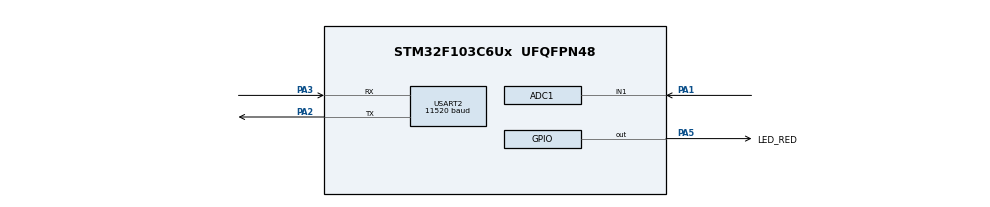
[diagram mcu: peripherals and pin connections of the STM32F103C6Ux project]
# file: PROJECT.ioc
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ADC1.Channel-0\#ChannelRegularConversion=ADC_CHANNEL_1
ADC1.ContinuousConvMode=ENABLE
ADC1.NbrOfConversionFlag=1
ADC1.Rank-0\#ChannelRegularConversion=1
ADC1.SamplingTime-0\#ChannelRegularConversion=ADC_SAMPLETIME_1CYCLE_5
ADC1.master=1
Mcu.Family=STM32F1
Mcu.Name=STM32F103C6Ux
Mcu.Package=UFQFPN48
NVIC.ADC1_2_IRQn=true\:0\:0\:false\:false\:true\:true\:true
NVIC.PriorityGroup=NVIC_PRIORITYGROUP_4
NVIC.TIM2_IRQn=true\:0\:0\:false\:false\:true\:true\:true
NVIC.USART2_IRQn=true\:0\:0\:false\:false\:true\:true\:true
PA1.Signal=ADCx_IN1
PA2.Mode=Asynchronous
PA2.Signal=USART2_TX
PA3.Mode=Asynchronous
PA3.Signal=USART2_RX
PA5.GPIO_Label=LED_RED
PA5.Signal=GPIO_Output
ProjectManager.HeapSize=0x200
ProjectManager.StackSize=0x400
ProjectManager.TargetToolchain=STM32CubeIDE
RCC.APB1Freq_Value=8000000
RCC.APB2Freq_Value=8000000
SH.ADCx_IN1.0=ADC1_IN1,IN1
TIM2.Period=9
TIM2.Prescaler=7999
USART2.BaudRate=11520
USART2.VirtualMode=VM_ASYNC
VP_SYS_VS_ND.Mode=No_Debug
VP_TIM2_VS_ClockSourceINT.Mode=Internal
board=custom

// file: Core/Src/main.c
/* USER CODE BEGIN Header */
/**
  ******************************************************************************
  * @file           : main.c
  * @brief          : Main program body
  ******************************************************************************
  * @attention
  *
  * <h2><center>&copy; Copyright (c) 2023 STMicroelectronics.
  * All rights reserved.</center></h2>
  *
  * This software component is licensed by ST under BSD 3-Clause license,
  * the "License"; You may not use this file except in compliance with the
  * License. You may obtain a copy of the License at:
  *                        opensource.org/licenses/BSD-3-Clause
  *
  ******************************************************************************
  */
/* USER CODE END Header */
#include "main.h"

/* USER CODE BEGIN Includes */
#include <stdio.h>
#include "software_timer.h"
#include "controlData.h"
#include "fsm.h"
#include "command.h"
#include "uart.h"
/* USER CODE END Includes */

ADC_HandleTypeDef hadc1;

TIM_HandleTypeDef htim2;

UART_HandleTypeDef huart2;

void SystemClock_Config(void);
static void MX_GPIO_Init(void);
static void MX_USART2_UART_Init(void);
static void MX_ADC1_Init(void);
static void MX_TIM2_Init(void);

/* USER CODE BEGIN 0 */

void HAL_UART_RxCpltCallback(UART_HandleTypeDef *huart){
	if (huart->Instance == USART2){
		insertBuffer(); // insert data to buffer
		HAL_UART_Transmit(&huart2, temp, 1, 50);
		HAL_UART_Receive_IT(&huart2, temp, 1);
	}
}
/* USER CODE END 0 */

int main(void)
{

  /* MCU Configuration--------------------------------------------------------*/

  /* Reset of all peripherals, Initializes the Flash interface and the Systick. */
  HAL_Init();

  /* Configure the system clock */
  SystemClock_Config();

  /* Initialize all configured peripherals */
  MX_GPIO_Init();
  MX_USART2_UART_Init();
  MX_ADC1_Init();
  MX_TIM2_Init();
  /* USER CODE BEGIN 2 */
  HAL_UART_Receive_IT(&huart2, temp, 1);
  HAL_TIM_Base_Start_IT(&htim2);
  /* USER CODE END 2 */

  /* Infinite loop */
  /* USER CODE BEGIN WHILE */
  // set initial status for environment
  INIT();
  initData();
  setTimer(0);
  setTimerBlinking();
  while (1)
  {
	  if (buffer_flag == 1){ // new data
		  if ((int)(temp[0]) == 13){ // 13 == press Enter from terminal
			  command_parser(); // check input buffer
			  initData(); // reset input buffer
		  }
		  buffer_flag = 0; // reset buffer flag
	  }
	  // fsm for uart communication
	  uart_communication_fsm();
	  // led blinking for show system's status
	  if (timer_blinking_flag == 1){
		  HAL_GPIO_TogglePin(LED_RED_GPIO_Port, LED_RED_Pin);
		  setTimerBlinking(); // set timer to 500ms
	  }
    /* USER CODE END WHILE */

  }
}

void SystemClock_Config(void)
{
  RCC_OscInitTypeDef RCC_OscInitStruct = {0};
  RCC_ClkInitTypeDef RCC_ClkInitStruct = {0};
  RCC_PeriphCLKInitTypeDef PeriphClkInit = {0};

  /** Initializes the RCC Oscillators according to the specified parameters
  * in the RCC_OscInitTypeDef structure.
  */
  RCC_OscInitStruct.OscillatorType = RCC_OSCILLATORTYPE_HSI;
  RCC_OscInitStruct.HSIState = RCC_HSI_ON;
  RCC_OscInitStruct.HSICalibrationValue = RCC_HSICALIBRATION_DEFAULT;
  RCC_OscInitStruct.PLL.PLLState = RCC_PLL_NONE;
  if (HAL_RCC_OscConfig(&RCC_OscInitStruct) != HAL_OK)
  {
    Error_Handler();
  }
  /** Initializes the CPU, AHB and APB buses clocks
  */
  RCC_ClkInitStruct.ClockType = RCC_CLOCKTYPE_HCLK|RCC_CLOCKTYPE_SYSCLK
                              |RCC_CLOCKTYPE_PCLK1|RCC_CLOCKTYPE_PCLK2;
  RCC_ClkInitStruct.SYSCLKSource = RCC_SYSCLKSOURCE_HSI;
  RCC_ClkInitStruct.AHBCLKDivider = RCC_SYSCLK_DIV1;
  RCC_ClkInitStruct.APB1CLKDivider = RCC_HCLK_DIV1;
  RCC_ClkInitStruct.APB2CLKDivider = RCC_HCLK_DIV1;

  if (HAL_RCC_ClockConfig(&RCC_ClkInitStruct, FLASH_LATENCY_0) != HAL_OK)
  {
    Error_Handler();
  }
  PeriphClkInit.PeriphClockSelection = RCC_PERIPHCLK_ADC;
  PeriphClkInit.AdcClockSelection = RCC_ADCPCLK2_DIV2;
  if (HAL_RCCEx_PeriphCLKConfig(&PeriphClkInit) != HAL_OK)
  {
    Error_Handler();
  }
}

static void MX_ADC1_Init(void)
{

  ADC_ChannelConfTypeDef sConfig = {0};

  /** Common config
  */
  hadc1.Instance = ADC1;
  hadc1.Init.ScanConvMode = ADC_SCAN_DISABLE;
  hadc1.Init.ContinuousConvMode = ENABLE;
  hadc1.Init.DiscontinuousConvMode = DISABLE;
  hadc1.Init.ExternalTrigConv = ADC_SOFTWARE_START;
  hadc1.Init.DataAlign = ADC_DATAALIGN_RIGHT;
  hadc1.Init.NbrOfConversion = 1;
  if (HAL_ADC_Init(&hadc1) != HAL_OK)
  {
    Error_Handler();
  }
  /** Configure Regular Channel
  */
  sConfig.Channel = ADC_CHANNEL_1;
  sConfig.Rank = ADC_REGULAR_RANK_1;
  sConfig.SamplingTime = ADC_SAMPLETIME_1CYCLE_5;
  if (HAL_ADC_ConfigChannel(&hadc1, &sConfig) != HAL_OK)
  {
    Error_Handler();
  }

}

static void MX_TIM2_Init(void)
{

  TIM_ClockConfigTypeDef sClockSourceConfig = {0};
  TIM_MasterConfigTypeDef sMasterConfig = {0};

  htim2.Instance = TIM2;
  htim2.Init.Prescaler = 7999;
  htim2.Init.CounterMode = TIM_COUNTERMODE_UP;
  htim2.Init.Period = 9;
  htim2.Init.ClockDivision = TIM_CLOCKDIVISION_DIV1;
  htim2.Init.AutoReloadPreload = TIM_AUTORELOAD_PRELOAD_DISABLE;
  if (HAL_TIM_Base_Init(&htim2) != HAL_OK)
  {
    Error_Handler();
  }
  sClockSourceConfig.ClockSource = TIM_CLOCKSOURCE_INTERNAL;
  if (HAL_TIM_ConfigClockSource(&htim2, &sClockSourceConfig) != HAL_OK)
  {
    Error_Handler();
  }
  sMasterConfig.MasterOutputTrigger = TIM_TRGO_RESET;
  sMasterConfig.MasterSlaveMode = TIM_MASTERSLAVEMODE_DISABLE;
  if (HAL_TIMEx_MasterConfigSynchronization(&htim2, &sMasterConfig) != HAL_OK)
  {
    Error_Handler();
  }

}

static void MX_USART2_UART_Init(void)
{

  huart2.Instance = USART2;
  huart2.Init.BaudRate = 11520;
  huart2.Init.WordLength = UART_WORDLENGTH_8B;
  huart2.Init.StopBits = UART_STOPBITS_1;
  huart2.Init.Parity = UART_PARITY_NONE;
  huart2.Init.Mode = UART_MODE_TX_RX;
  huart2.Init.HwFlowCtl = UART_HWCONTROL_NONE;
  huart2.Init.OverSampling = UART_OVERSAMPLING_16;
  if (HAL_UART_Init(&huart2) != HAL_OK)
  {
    Error_Handler();
  }

}

static void MX_GPIO_Init(void)
{
  GPIO_InitTypeDef GPIO_InitStruct = {0};

  /* GPIO Ports Clock Enable */
  __HAL_RCC_GPIOA_CLK_ENABLE();

  /*Configure GPIO pin Output Level */
  HAL_GPIO_WritePin(LED_RED_GPIO_Port, LED_RED_Pin, GPIO_PIN_RESET);

  /*Configure GPIO pin : LED_RED_Pin */
  GPIO_InitStruct.Pin = LED_RED_Pin;
  GPIO_InitStruct.Mode = GPIO_MODE_OUTPUT_PP;
  GPIO_InitStruct.Pull = GPIO_NOPULL;
  GPIO_InitStruct.Speed = GPIO_SPEED_FREQ_LOW;
  HAL_GPIO_Init(LED_RED_GPIO_Port, &GPIO_InitStruct);

}

/* USER CODE BEGIN 4 */
void HAL_TIM_PeriodElapsedCallback(TIM_HandleTypeDef *htim){
	// Timer TODO
	timerRun();
}
/* USER CODE END 4 */

void Error_Handler(void)
{
  __disable_irq();
  while (1)
  {
  }
}

/************************ (C) COPYRIGHT STMicroelectronics *****END OF FILE****/
